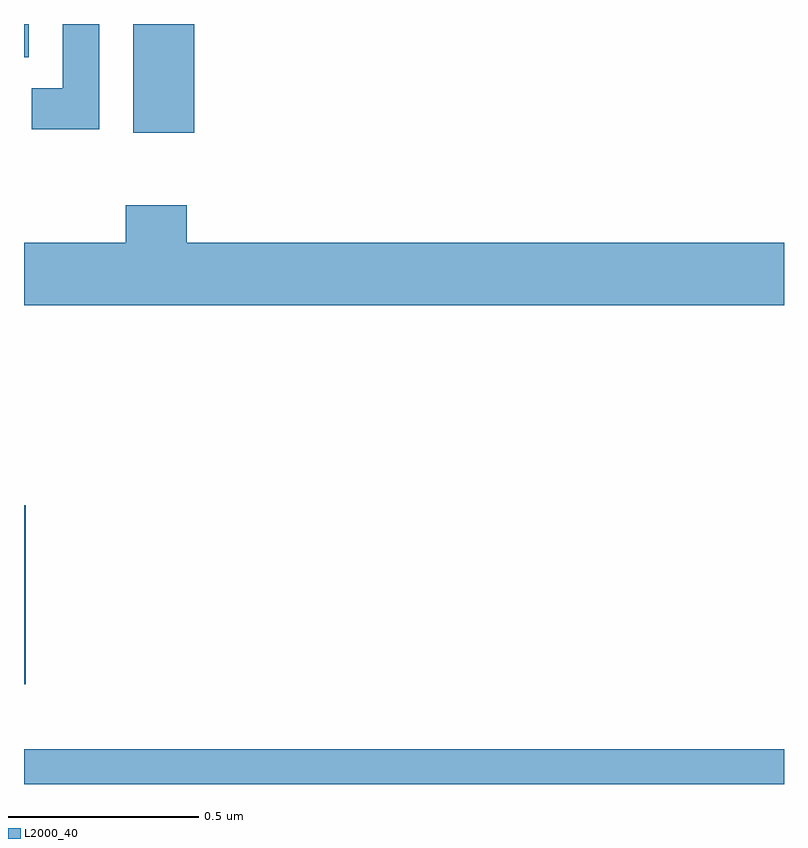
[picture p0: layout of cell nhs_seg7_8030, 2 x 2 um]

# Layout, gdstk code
import gdstk
lib = gdstk.Library(unit=1e-6, precision=1e-09)
def R(c, l, rs):  # rectangles x0, y0, x1, y1
    for r in rs: c.add(gdstk.rectangle(r[:2], r[2:], *l))
def P(c, l, *ps):  # polygons
    for p in ps: c.add(gdstk.Polygon(p, *l))
L2000_40 = (2000, 40)

nhs_seg7_8030 = lib.new_cell('nhs_seg7_8030')
R(nhs_seg7_8030, L2000_40, [(219,1022,221,1022.092), (219,1022.262,219.004,1022.733), (219.287,1023.714,219.448,1024), (219,1023.912,219.013,1024)])
P(nhs_seg7_8030, L2000_40, [(219.198,1024),(219.102,1024),(219.102,1023.831),(219.021,1023.831),(219.021,1023.723),(219.198,1023.723)],
  [(221,1023.424),(219.428,1023.424),(219.428,1023.523),(219.268,1023.523),(219.268,1023.424),(219,1023.424),(219,1023.26),(221,1023.26)])

lib.write_gds('nhs_seg7_8030.gds')
